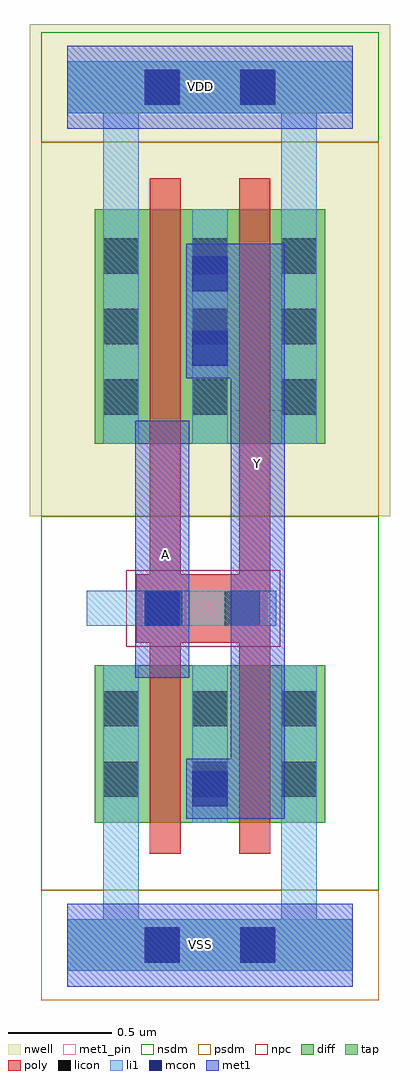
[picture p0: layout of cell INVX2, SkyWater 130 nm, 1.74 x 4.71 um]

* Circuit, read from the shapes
.subckt INVX2 A VDD VSS Y
XM1 Y A VSS VSS sky130_fd_pr__nfet_01v8 w=0.76 l=0.15 m=2
XM2 Y A VDD VDD sky130_fd_pr__pfet_01v8 w=1.13 l=0.15 m=2
.ends

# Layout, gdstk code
import gdstk
lib = gdstk.Library(unit=1e-6, precision=1e-09)
def R(c, l, rs):  # rectangles x0, y0, x1, y1
    for r in rs: c.add(gdstk.rectangle(r[:2], r[2:], *l))
def A(c, l, x, y, w, h, nx, ny, dx, dy):  # array of equal rectangles
    R(c, l, [(x+i*dx, y+j*dy, x+i*dx+w, y+j*dy+h) for i in range(nx) for j in range(ny)])
nwell = (64, 20)
diff = (65, 20)
tap = (65, 44)
poly = (66, 20)
licon = (66, 44)
li1 = (67, 20)
mcon = (67, 44)
met1_pin = (68, 16)
met1 = (68, 20)
nsdm = (93, 44)
psdm = (94, 20)
npc = (95, 20)

nfet_01v8_cdns_716492285 = lib.new_cell('nfet_01v8_CDNS_71649228522139')
R(nfet_01v8_cdns_716492285, diff, [(-0.265,0,0,0.76), (0,0,0.15,0.76), (0.15,0,0.43,0.76), (0.43,0,0.58,0.76), (0.58,0,0.845,0.76)])
R(nfet_01v8_cdns_716492285, poly, [(0,-0.15,0.15,-0.095), (0.43,-0.15,0.58,-0.095), (0,-0.095,0.15,0), (0.43,-0.095,0.58,0), (0,0,0.15,0.76), (0.43,0,0.58,0.76), (0,0.76,0.15,0.855), (0.43,0.76,0.58,0.855), (0,0.855,0.15,0.91), (0.43,0.855,0.58,0.91)])
A(nfet_01v8_cdns_716492285, licon, -0.225, 0.125, 0.17, 0.17, 3, 2, 0.43, 0.34)
A(nfet_01v8_cdns_716492285, li1, -0.225, 0, 0.17, 0.76, 3, 1, 0.43, 0)
R(nfet_01v8_cdns_716492285, nsdm, [(-0.405,-0.13,0.985,0.89)])

pfet_01v8_cdns_716492285 = lib.new_cell('pfet_01v8_CDNS_71649228522140')
R(pfet_01v8_cdns_716492285, nwell, [(-0.445,-0.18,1.025,1.31)])
R(pfet_01v8_cdns_716492285, diff, [(-0.265,0,0,1.13), (0,0,0.15,1.13), (0.15,0,0.43,1.13), (0.43,0,0.58,1.13), (0.58,0,0.845,1.13)])
R(pfet_01v8_cdns_716492285, poly, [(0,-0.15,0.15,-0.095), (0.43,-0.15,0.58,-0.095), (0,-0.095,0.15,0), (0.43,-0.095,0.58,0), (0,0,0.15,1.13), (0.43,0,0.58,1.13), (0,1.13,0.15,1.225), (0.43,1.13,0.58,1.225), (0,1.225,0.15,1.28), (0.43,1.225,0.58,1.28)])
A(pfet_01v8_cdns_716492285, licon, -0.225, 0.14, 0.17, 0.17, 3, 3, 0.43, 0.34)
A(pfet_01v8_cdns_716492285, li1, -0.225, 0, 0.17, 1.13, 3, 1, 0.43, 0)
R(pfet_01v8_cdns_716492285, psdm, [(-0.405,-0.13,0.985,1.26)])

pyl1con_c_cdns_716492285 = lib.new_cell('PYL1CON_C_CDNS_716492285220')
R(pyl1con_c_cdns_716492285, poly, [(-0.135,-0.165,0.135,0.165)])
R(pyl1con_c_cdns_716492285, licon, [(-0.085,-0.085,0.085,0.085)])
R(pyl1con_c_cdns_716492285, npc, [(-0.185,-0.185,0.185,0.185)])

l1m1_c_cdns_716492285222 = lib.new_cell('L1M1_C_CDNS_716492285222')
R(l1m1_c_cdns_716492285222, li1, [(-0.085,-0.165,0.085,0.165)])
R(l1m1_c_cdns_716492285222, mcon, [(-0.085,-0.085,0.085,0.085)])
R(l1m1_c_cdns_716492285222, met1, [(-0.115,-0.145,0.115,0.145)])

l1m1_c_cdns_716492285225 = lib.new_cell('L1M1_C_CDNS_716492285225')
R(l1m1_c_cdns_716492285225, li1, [(-0.085,-0.345,0.085,0.345)])
R(l1m1_c_cdns_716492285225, mcon, [(-0.085,-0.265,0.085,-0.095), (-0.085,0.095,0.085,0.265)])
R(l1m1_c_cdns_716492285225, met1, [(-0.115,-0.325,0.115,0.325)])

l1m1_c_cdns_716492285223 = lib.new_cell('L1M1_C_CDNS_716492285223')
R(l1m1_c_cdns_716492285223, li1, [(-0.165,-0.085,0.165,0.085)])
R(l1m1_c_cdns_716492285223, mcon, [(-0.085,-0.085,0.085,0.085)])
R(l1m1_c_cdns_716492285223, met1, [(-0.115,-0.145,0.115,0.145)])

invx2 = lib.new_cell('INVX2')
R(invx2, nwell, [(-0.18,2.07,1.56,4.305), (-0.18,3.875,1.56,4.445)])
R(invx2, licon, [(0.375,-0.085,0.545,0.085), (0.835,-0.085,1.005,0.085), (0.375,4.055,0.545,4.225), (0.835,4.055,1.005,4.225)])
R(invx2, mcon, [(0.375,-0.085,0.545,0.085), (0.835,-0.085,1.005,0.085), (0.375,4.055,0.545,4.225), (0.835,4.055,1.005,4.225)])
R(invx2, met1_pin, [(0.33,1.29,0.59,2.53), (0.79,1.34,1.05,2.58)])
R(invx2, nsdm, [(-0.125,0.265,1.505,2.07), (-0.125,3.875,1.505,4.405), (-0.125,3.93,1.505,4.35)])
R(invx2, psdm, [(-0.125,-0.265,1.505,0.265), (-0.125,-0.21,1.505,0.21), (-0.125,2.07,1.505,3.875)])
R(invx2, npc, [(0.285,1.44,1.03,1.81)])
invx2.add(gdstk.FlexPath([(0.475,1.625),(0.475,1.5)], 0.15, ends=(0.165, 0), simple_path=True, layer=66, datatype=20))  # poly
invx2.add(gdstk.FlexPath([(0.475,1.625),(0.44,1.625)], 0.33, ends=(0.075, 0.075), simple_path=True, layer=66, datatype=20))  # poly
invx2.add(gdstk.FlexPath([(0.475,2.33),(0.475,1.625)], 0.15, ends=(0, 0.165), simple_path=True, layer=66, datatype=20))  # poly
invx2.add(gdstk.FlexPath([(0.905,2.33),(0.905,1.445)], 0.15, ends="flush", simple_path=True, layer=66, datatype=20))  # poly
invx2.add(gdstk.FlexPath([(0.87,1.625),(0.475,1.625)], 0.33, ends=(0.075, 0.075), simple_path=True, layer=66, datatype=20))  # poly
invx2.add(gdstk.FlexPath([(0.095,1.625),(1.01,1.625)], 0.17, ends="flush", simple_path=True, layer=67, datatype=20))  # li1
invx2.add(gdstk.FlexPath([(0.295,1.625),(0.64,1.625)], 0.17, ends="flush", simple_path=True, layer=67, datatype=20))  # li1
invx2.add(gdstk.FlexPath([(0.26,0),(0.215,0)], 0.17, ends=(0.085, 0), simple_path=True, layer=67, datatype=20))  # li1
invx2.add(gdstk.FlexPath([(0,0),(0.26,0)], 0.25, ends=(0, 0.085), simple_path=True, layer=67, datatype=20))  # li1
invx2.add(gdstk.FlexPath([(1.12,0),(1.38,0)], 0.25, ends=(0.085, 0), simple_path=True, layer=67, datatype=20))  # li1
invx2.add(gdstk.FlexPath([(0.26,0),(1.12,0)], 0.25, ends=(0.085, 0.085), simple_path=True, layer=67, datatype=20))  # li1
invx2.add(gdstk.FlexPath([(0,4.14),(0.26,4.14)], 0.25, ends=(0, 0.085), simple_path=True, layer=67, datatype=20))  # li1
invx2.add(gdstk.FlexPath([(1.12,4.14),(1.38,4.14)], 0.25, ends=(0.085, 0), simple_path=True, layer=67, datatype=20))  # li1
invx2.add(gdstk.FlexPath([(0.26,4.14),(1.12,4.14)], 0.25, ends=(0.085, 0.085), simple_path=True, layer=67, datatype=20))  # li1
invx2.add(gdstk.FlexPath([(0.26,4.14),(0.215,4.14)], 0.17, ends=(0.085, 0), simple_path=True, layer=67, datatype=20))  # li1
invx2.add(gdstk.FlexPath([(0.26,3.55),(0.26,4.14)], 0.17, ends=(0, 0.125), simple_path=True, layer=67, datatype=20))  # li1
invx2.add(gdstk.FlexPath([(1.12,3.55),(1.12,4.14)], 0.17, ends=(0, 0.125), simple_path=True, layer=67, datatype=20))  # li1
invx2.add(gdstk.FlexPath([(0.26,0.59),(0.26,0)], 0.17, ends=(0, 0.085), simple_path=True, layer=67, datatype=20))  # li1
invx2.add(gdstk.FlexPath([(1.12,0),(0.26,0)], 0.17, ends=(0.085, 0), simple_path=True, layer=67, datatype=20))  # li1
invx2.add(gdstk.FlexPath([(1.12,0.59),(1.12,0)], 0.17, ends=(0, 0.125), simple_path=True, layer=67, datatype=20))  # li1
invx2.add(gdstk.FlexPath([(0,0),(1.38,0)], 0.25, ends="flush", simple_path=True, layer=65, datatype=44))  # tap
invx2.add(gdstk.FlexPath([(0,4.14),(1.38,4.14)], 0.25, ends="flush", simple_path=True, layer=65, datatype=44))  # tap
invx2.add(gdstk.FlexPath([(0.46,1.29),(0.46,2.53)], 0.26, ends="flush", simple_path=True, layer=68, datatype=20))  # met1
invx2.add(gdstk.FlexPath([(0.92,3.385),(0.92,0.61)], 0.26, ends="flush", simple_path=True, layer=68, datatype=20))  # met1
invx2.add(gdstk.FlexPath([(0,4.14),(1.38,4.14)], 0.4, ends="flush", simple_path=True, layer=68, datatype=20))  # met1
invx2.add(gdstk.FlexPath([(0,0),(1.38,0)], 0.4, ends="flush", simple_path=True, layer=68, datatype=20))  # met1
invx2.add(gdstk.FlexPath([(0,4.14),(1.38,4.14)], 0.4, ends="flush", simple_path=True, layer=68, datatype=16))  # met1_pin
invx2.add(gdstk.FlexPath([(0,0),(1.38,0)], 0.4, ends="flush", simple_path=True, layer=68, datatype=16))  # met1_pin
invx2.add(gdstk.Reference(nfet_01v8_cdns_716492285, (0.4,0.59)))
invx2.add(gdstk.Reference(pfet_01v8_cdns_716492285, (0.4,2.42)))
invx2.add(gdstk.Reference(pyl1con_c_cdns_716492285, (0.47,1.625)))
invx2.add(gdstk.Reference(pyl1con_c_cdns_716492285, (0.845,1.625)))
invx2.add(gdstk.Reference(l1m1_c_cdns_716492285222, (0.69,0.755)))
invx2.add(gdstk.Reference(l1m1_c_cdns_716492285225, (0.69,3.06)))
invx2.add(gdstk.Reference(l1m1_c_cdns_716492285223, (0.46,1.625), x_reflection=True))
invx2.add(gdstk.Label('VDD', (0.645,4.145), layer=68, texttype=5))
invx2.add(gdstk.Label('A', (0.475,1.885), layer=68, texttype=5))
invx2.add(gdstk.Label('Y', (0.92,2.325), layer=68, texttype=5))
invx2.add(gdstk.Label('VSS', (0.645,0.005), layer=68, texttype=5))

lib.write_gds('INVX2.gds')
